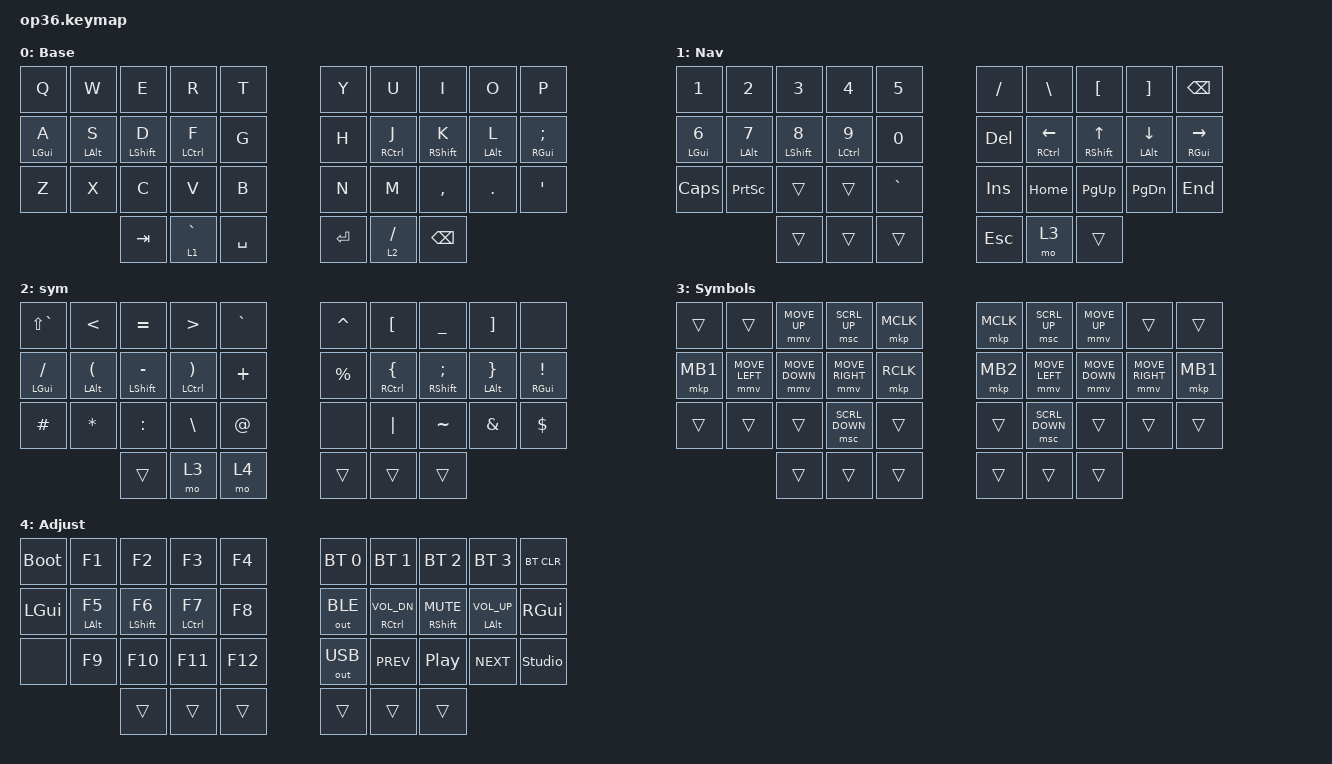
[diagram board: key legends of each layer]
#include "keys_ru.h"
#include <behaviors.dtsi>
#include <dt-bindings/zmk/bt.h>
#include <dt-bindings/zmk/keys.h>
#include <dt-bindings/zmk/outputs.h>
#include <dt-bindings/zmk/pointing.h>

&mt {
    quick-tap-ms = <200>;
    flavor = "tap-preferred";
    require-prior-idle-ms = <125>;
};

&mmv {
    time-to-max-speed-ms = <200>;
    acceleration-exponent = <2>;
};

/ {
    behaviors {
        hml: home_row_mod_left {
            compatible = "zmk,behavior-hold-tap";
            #binding-cells = <2>;
            flavor = "balanced";
            require-prior-idle-ms = <150>;
            tapping-term-ms = <280>;
            quick-tap-ms = <175>;
            bindings = <&kp>, <&kp>;

            hold-trigger-key-positions = <5 6 7 8 9 15 16 17 18 19 25 26 27 28 29 33 34 35>;
            hold-trigger-on-release;
        };

        hmr: home_row_mod_right {
            compatible = "zmk,behavior-hold-tap";
            #binding-cells = <2>;
            flavor = "balanced";
            require-prior-idle-ms = <150>;
            tapping-term-ms = <280>;
            quick-tap-ms = <175>;
            bindings = <&kp>, <&kp>;

            hold-trigger-key-positions = <0 1 2 3 4 10 11 12 13 14 20 21 22 23 24 30 31 32>;
            hold-trigger-on-release;
        };
    };

    combos {
        compatible = "zmk,combos";

        kha {
            bindings = <&kp LBKT>;
            key-positions = <6 7>;
        };

        hrdsgn {
            bindings = <&kp RBKT>;
            key-positions = <7 8>;
        };
    };

    keymap {
        compatible = "zmk,keymap";

        base {
            bindings = <
  &kp Q        &kp W        &kp E         &kp R         &kp T                                &kp Y        &kp U          &kp I         &kp O        &kp P
  &hml LGUI A  &hml LALT S  &hml LSHFT D  &hml LCTRL F  &kp G                                &kp H        &hmr RCTRL J   &hmr RSHFT K  &hmr LALT L  &hmr RGUI SEMICOLON
  &kp Z        &kp X        &kp C         &kp V         &kp B                                &kp N        &kp M          &kp COMMA     &kp DOT      &kp SQT
                                          &kp TAB       &lt 1 GRAVE  &kp SPACE    &kp ENTER  &lt 2 SLASH  &kp BACKSPACE
            >;

            display-name = "Base";
        };

        nav {
            bindings = <
  &kp N1        &kp N2           &kp N3         &kp N4         &kp N5                        &kp SLASH   &kp BACKSLASH    &kp LEFT_BRACKET  &kp RIGHT_BRACKET  &kp BACKSPACE
  &hml LGUI N6  &hml LALT N7     &hml LSHFT N8  &hml LCTRL N9  &kp N0                        &kp DEL     &hmr RCTRL LEFT  &hmr RSHFT UP     &hmr LALT DOWN     &hmr RGUI RIGHT
  &kp CAPSLOCK  &kp PRINTSCREEN  &trans         &trans         &kp GRAVE                     &kp INSERT  &kp HOME         &kp PG_UP         &kp PAGE_DOWN      &kp END
                                                &trans         &trans     &trans    &kp ESC  &mo 3       &trans
            >;

            display-name = "Nav";
        };

        sym {
            bindings = <
  &kp LS(GRAVE)    &kp LT          &kp EQUAL         &kp GT           &kp GRAVE                     &kp CARET  &kp LBKT         &kp UNDER        &kp RBKT        &none
  &hml LGUI SLASH  &hml LALT LPAR  &hml LSHFT MINUS  &hml LCTRL RPAR  &kp PLUS                      &kp PRCNT  &hmr RCTRL LBRC  &hmr RSHFT SEMI  &hmr LALT RBRC  &hmr RGUI EXCL
  &kp HASH         &kp STAR        &kp COLON         &kp BACKSLASH    &kp AT_SIGN                   &none      &kp PIPE         &kp TILDE        &kp AMPS        &kp DLLR
                                                     &trans           &mo 3        &mo 4    &trans  &trans     &trans
            >;
        };

        mouse {
            bindings = <
  &trans    &trans          &mmv MOVE_UP    &msc SCRL_UP     &mkp MCLK                    &mkp MCLK  &msc SCRL_UP    &mmv MOVE_UP    &trans           &trans
  &mkp MB1  &mmv MOVE_LEFT  &mmv MOVE_DOWN  &mmv MOVE_RIGHT  &mkp RCLK                    &mkp MB2   &mmv MOVE_LEFT  &mmv MOVE_DOWN  &mmv MOVE_RIGHT  &mkp MB1
  &trans    &trans          &trans          &msc SCRL_DOWN   &trans                       &trans     &msc SCRL_DOWN  &trans          &trans           &trans
                                            &trans           &trans     &trans    &trans  &trans     &trans
            >;

            display-name = "Symbols";
        };

        adj {
            bindings = <
  &bootloader  &kp F1        &kp F2         &kp F3         &kp F4                     &bt BT_SEL 0  &bt BT_SEL 1         &bt BT_SEL 2       &bt BT_SEL 3        &bt BT_CLR
  &kp LGUI     &hml LALT F5  &hml LSHFT F6  &hml LCTRL F7  &kp F8                     &out OUT_BLE  &hmr RCTRL C_VOL_DN  &hmr RSHFT C_MUTE  &hmr LALT C_VOL_UP  &kp RGUI
  &none        &kp F9        &kp F10        &kp F11        &kp F12                    &out OUT_USB  &kp C_PREV           &kp C_PP           &kp C_NEXT          &studio_unlock
                                            &trans         &trans   &trans    &trans  &trans        &trans
            >;

            display-name = "Adjust";
        };
    };
};
